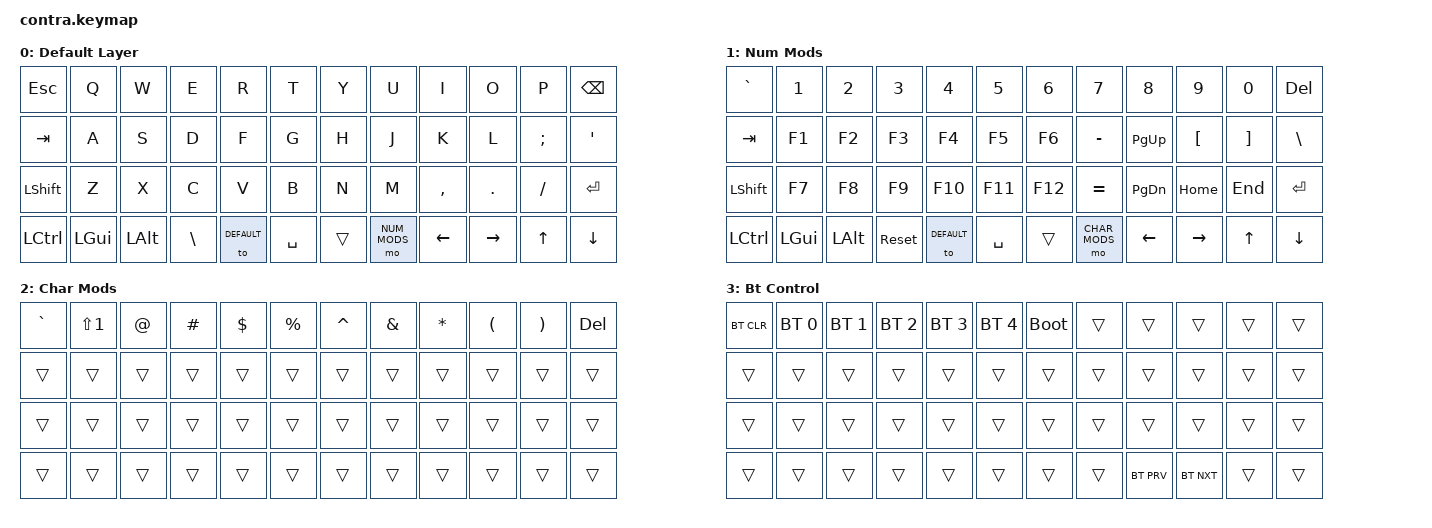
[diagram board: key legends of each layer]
/*
 * Copyright (c) 2021 The ZMK Contributors
 *
 * SPDX-License-Identifier: MIT
 */

#include <behaviors.dtsi>
#include <dt-bindings/zmk/keys.h>
#include <dt-bindings/zmk/bt.h>

#define DEFAULT  0
#define NUM_MODS 1
#define CHAR_MODS 2
#define BT_CTRL  3

/ {
    conditional_layers {
        compatible = "zmk,conditional-layers";
        tri_layer {
            if-layers = <1 2>;      // Warstwy NUM_MODS i CHAR_MODS
            then-layer = <3>;       // Warstwa BT_CTRL
        };
    };

    keymap {
        compatible = "zmk,keymap";

        default_layer {
            display-name = "Default Layer";
            bindings = <
    &kp ESC   &kp Q     &kp W    &kp E     &kp R       &kp T      &kp Y     &kp U        &kp I     &kp O     &kp P    &kp BSPC
    &kp TAB   &kp A     &kp S    &kp D     &kp F       &kp G      &kp H     &kp J        &kp K     &kp L     &kp SEMI &kp SQT
    &kp LSHFT &kp Z     &kp X    &kp C     &kp V       &kp B      &kp N     &kp M        &kp COMMA &kp DOT   &kp FSLH &kp ENTER
    &kp LCTRL &kp LGUI  &kp LALT &kp BSLH  &to DEFAULT &kp SPACE  &trans    &mo NUM_MODS &kp LEFT  &kp RIGHT &kp UP   &kp DOWN
            >;
        };

        num_mods {
            display-name = "Num Mods";
            bindings = <
    &kp GRAVE &kp N1    &kp N2   &kp N3   &kp N4      &kp N5     &kp N6    &kp N7      &kp N8    &kp N9    &kp N0   &kp DEL
    &kp TAB   &kp F1    &kp F2   &kp F3   &kp F4      &kp F5     &kp F6    &kp MINUS   &kp PG_UP &kp LBKT  &kp RBKT &kp BSLH
    &kp LSHFT &kp F7    &kp F8   &kp F9   &kp F10     &kp F11    &kp F12   &kp EQUAL   &kp PG_DN &kp HOME  &kp END  &kp ENTER
    &kp LCTRL &kp LGUI  &kp LALT &sys_reset   &to DEFAULT &kp SPACE  &trans    &mo CHAR_MODS &kp LEFT  &kp RIGHT &kp UP   &kp DOWN
            >;
        };

        char_mods {
            display-name = "Char Mods";
            bindings = <
    &kp GRAVE &kp LS(N1)  &kp AT    &kp HASH  &kp DLLR  &kp PRCNT  &kp CARET  &kp AMPS  &kp STAR  &kp LPAR  &kp RPAR   &kp DEL
    &trans     &trans       &trans       &trans       &trans       &trans       &trans    &trans    &trans     &trans     &trans   &trans
    &trans     &trans       &trans       &trans       &trans       &trans       &trans    &trans    &trans     &trans     &trans   &trans
    &trans     &trans       &trans       &trans       &trans       &trans       &trans    &trans    &trans     &trans     &trans   &trans
            >;
        };

        bt_control {
            display-name = "Bt Control";
            bindings = <
    &bt BT_CLR &bt BT_SEL 0 &bt BT_SEL 1 &bt BT_SEL 2 &bt BT_SEL 3 &bt BT_SEL 4 &bootloader    &trans    &trans     &trans     &trans   &trans
    &trans     &trans       &trans       &trans       &trans       &trans       &trans    &trans    &trans     &trans     &trans   &trans
    &trans     &trans       &trans       &trans       &trans       &trans       &trans    &trans    &trans     &trans     &trans   &trans
    &trans     &trans       &trans       &trans       &trans       &trans       &trans    &trans    &bt BT_PRV &bt BT_NXT &trans   &trans
            >;
        };
    };
};
